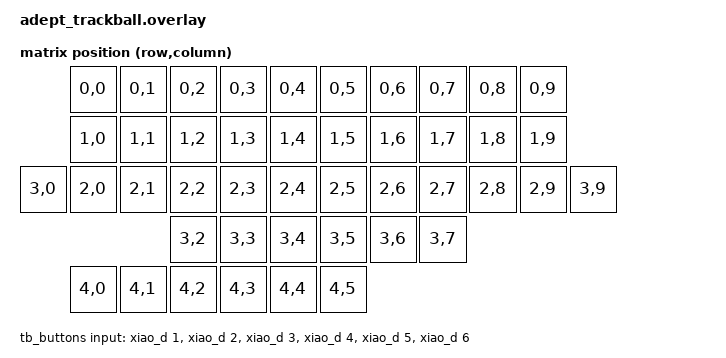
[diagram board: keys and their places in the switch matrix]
/*
 * Adept trackball (BLE mod) as a Totem split PERIPHERAL.
 *
 * Derived from diagbyte/adeptBLE-firmware, but converted from a standalone
 * BLE mouse into a pointing peripheral: the local input-listener / kscan /
 * keymap are removed, and the PMW3610 sensor is wrapped in a zmk,input-split
 * (reg = 0) that forwards movement to the dongle central.
 *
 * The 6 trackball buttons are direct-GPIO keys forwarded as split key
 * positions 38-43; pointing (motion) flows over the input-split. Scroll/snipe
 * behavior lives on the dongle's input-listener (SCROLL/SNIPE layers).
 *
 * Wiring (XIAO BLE): sensor SPI0 SCK=P1.13, MOSI/MISO=P1.14 (3-wire), CS=D7,
 * MOTION/IRQ=D10; buttons on D1-D6.
 */

#include <zephyr/dt-bindings/input/input-event-codes.h>
#include <dt-bindings/zmk/matrix_transform.h>

/ {
    chosen {
        zmk,kscan = &tb_buttons;
        zmk,matrix_transform = &tb_transform;
    };

    /* 6 trackball buttons -> central keymap positions 38-43.
     * Direct kscan reports (row 0, col i); row-offset=4 in tb_transform steers
     * that onto map row 4 -> indices 38..43. Reorder input-gpios to remap. */
    tb_buttons: kscan_buttons {
        compatible = "zmk,kscan-gpio-direct";
        wakeup-source;
        input-gpios
            = <&xiao_d 1 (GPIO_ACTIVE_LOW | GPIO_PULL_UP)>   /* position 38 */
            , <&xiao_d 2 (GPIO_ACTIVE_LOW | GPIO_PULL_UP)>   /* position 39 */
            , <&xiao_d 3 (GPIO_ACTIVE_LOW | GPIO_PULL_UP)>   /* position 40 */
            , <&xiao_d 4 (GPIO_ACTIVE_LOW | GPIO_PULL_UP)>   /* position 41 */
            , <&xiao_d 5 (GPIO_ACTIVE_LOW | GPIO_PULL_UP)>   /* position 42 */
            , <&xiao_d 6 (GPIO_ACTIVE_LOW | GPIO_PULL_UP)>;  /* position 43 */
    };

    /* 44-entry map identical to the halves/dongle; with row-offset 4 and a
     * row-0 direct kscan, only indices 38-43 are reachable here. Indices 0-37
     * are placeholders so the map length matches the shared transform. */
    tb_transform: keymap_transform_tb {
        compatible = "zmk,matrix-transform";
        columns = <10>;
        rows = <5>;
        row-offset = <4>;
        map = <
            RC(0,0) RC(0,1) RC(0,2) RC(0,3) RC(0,4)    RC(0,5) RC(0,6) RC(0,7) RC(0,8) RC(0,9)
            RC(1,0) RC(1,1) RC(1,2) RC(1,3) RC(1,4)    RC(1,5) RC(1,6) RC(1,7) RC(1,8) RC(1,9)
    RC(3,0) RC(2,0) RC(2,1) RC(2,2) RC(2,3) RC(2,4)    RC(2,5) RC(2,6) RC(2,7) RC(2,8) RC(2,9) RC(3,9)
                            RC(3,2) RC(3,3) RC(3,4)    RC(3,5) RC(3,6) RC(3,7)
            RC(4,0) RC(4,1) RC(4,2) RC(4,3) RC(4,4) RC(4,5)
        >;
    };

    /* Sending end of the input-split (reg must match the dongle's). */
    split_inputs {
        #address-cells = <1>;
        #size-cells = <0>;

        trackball_split: trackball_split@0 {
            compatible = "zmk,input-split";
            reg = <0>;
            device = <&trackball>;
        };
    };
};

&pinctrl {
    spi0_default: spi0_default {
        group1 {
            psels = <NRF_PSEL(SPIM_SCK, 1, 13)>,
                    <NRF_PSEL(SPIM_MOSI, 1, 14)>,
                    <NRF_PSEL(SPIM_MISO, 1, 14)>;
        };
    };

    spi0_sleep: spi0_sleep {
        group1 {
            psels = <NRF_PSEL(SPIM_SCK, 1, 13)>,
                    <NRF_PSEL(SPIM_MOSI, 1, 14)>,
                    <NRF_PSEL(SPIM_MISO, 1, 14)>;
            low-power-enable;
        };
    };
};

/* xiao_serial is a label on uart0; disabling uart0 frees the SPI0 pins. */
&uart0 {
    status = "disabled";
};

&spi0 {
    status = "okay";
    compatible = "nordic,nrf-spim";
    pinctrl-0 = <&spi0_default>;
    pinctrl-1 = <&spi0_sleep>;
    pinctrl-names = "default", "sleep";
    cs-gpios = <&xiao_d 7 GPIO_ACTIVE_LOW>;

    trackball: trackball@0 {
        status = "okay";
        compatible = "pixart,pmw3610-alt";
        reg = <0>;
        spi-max-frequency = <2000000>;
        irq-gpios = <&xiao_d 10 (GPIO_ACTIVE_LOW | GPIO_PULL_UP)>;
        cpi = <800>;
        evt-type = <INPUT_EV_REL>;
        x-input-code = <INPUT_REL_X>;
        y-input-code = <INPUT_REL_Y>;
        force-awake;
    };
};

&gpio0 {
    fastbatcharge: fast-battery-charge {
        gpio-hog;
        gpios = <13 GPIO_ACTIVE_HIGH>;
        output-low;
        line-name = "Fast Battery Charge";
    };
};
